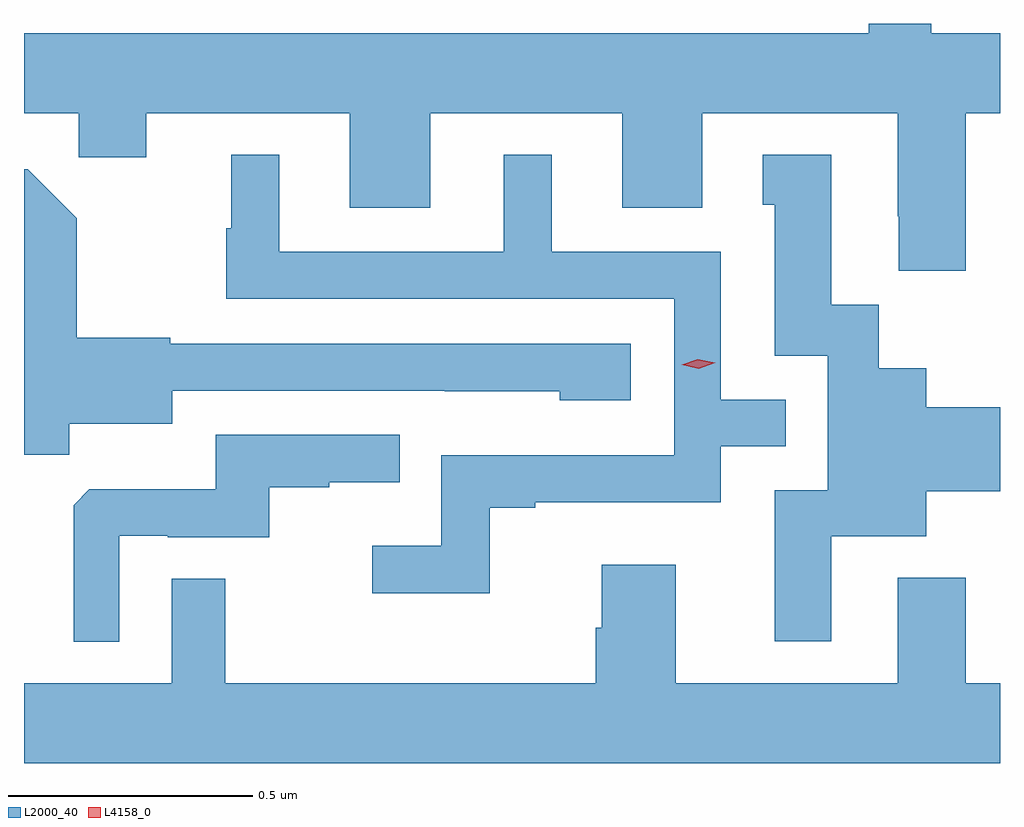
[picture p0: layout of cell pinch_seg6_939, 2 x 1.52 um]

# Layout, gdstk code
import gdstk
lib = gdstk.Library(unit=1e-6, precision=1e-09)
def P(c, l, *ps):  # polygons
    for p in ps: c.add(gdstk.Polygon(p, *l))
L2000_40 = (2000, 40)
L4158_0 = (4158, 0)

pinch_seg6_939 = lib.new_cell('pinch_seg6_939')
P(pinch_seg6_939, L2000_40, [(236.179,940.676),(236.249,940.676),(236.249,940.84),(236.108,940.84),(236.108,940.859),(235.98,940.859),(235.98,940.84),(234.249,940.84),(234.249,940.676),(234.361,940.676),(234.361,940.586),(234.499,940.586),(234.499,940.676),(234.917,940.676),(234.917,940.482),(235.081,940.482),(235.081,940.676),(235.475,940.676),(235.475,940.482),(235.639,940.482),(235.639,940.676),(236.039,940.676),(236.039,940.465),(236.042,940.465),(236.042,940.353),(236.179,940.353)],
  [(235.203,939.867),(235.297,939.867),(235.297,939.879),(235.677,939.879),(235.677,939.993),(235.81,939.993),(235.81,940.089),(235.677,940.089),(235.677,940.392),(235.33,940.392),(235.33,940.591),(235.232,940.591),(235.232,940.392),(234.772,940.392),(234.772,940.591),(234.674,940.591),(234.674,940.44),(234.663,940.44),(234.663,940.296),(235.581,940.296),(235.581,939.975),(235.104,939.975),(235.104,939.79),(234.963,939.79),(234.963,939.692),(235.203,939.692)],
  [(235.903,939.809),(236.098,939.809),(236.098,939.901),(236.249,939.901),(236.249,940.073),(236.098,940.073),(236.098,940.153),(236.001,940.153),(236.001,940.283),(235.903,940.283),(235.903,940.591),(235.763,940.591),(235.763,940.488),(235.787,940.488),(235.787,940.179),(235.896,940.179),(235.896,939.903),(235.787,939.903),(235.787,939.594),(235.903,939.594)],
  [(234.342,940.04),(234.553,940.04),(234.553,940.107),(235.111,940.107),(235.111,940.106),(235.347,940.106),(235.347,940.088),(235.492,940.088),(235.492,940.203),(234.549,940.203),(234.549,940.216),(234.357,940.216),(234.357,940.461),(234.257,940.561),(234.249,940.561),(234.249,939.976),(234.342,939.976)],
  [(234.444,939.81),(234.544,939.81),(234.544,939.807),(234.752,939.807),(234.752,939.909),(234.875,939.909),(234.875,939.92),(235.019,939.92),(235.019,940.017),(234.642,940.017),(234.642,939.905),(234.383,939.905),(234.351,939.873),(234.351,939.593),(234.444,939.593)],
  [(236.249,939.508),(236.179,939.508),(236.179,939.724),(236.039,939.724),(236.039,939.508),(235.585,939.508),(235.585,939.751),(235.433,939.751),(235.433,939.621),(235.421,939.621),(235.421,939.508),(234.661,939.508),(234.661,939.722),(234.552,939.722),(234.552,939.508),(234.249,939.508),(234.249,939.344),(236.249,939.344)])
P(pinch_seg6_939, L4158_0, [(235.632,940.152),(235.597,940.16),(235.596,940.16),(235.597,940.16),(235.63,940.172),(235.665,940.165),(235.665,940.165),(235.665,940.165)])

lib.write_gds('pinch_seg6_939.gds')
